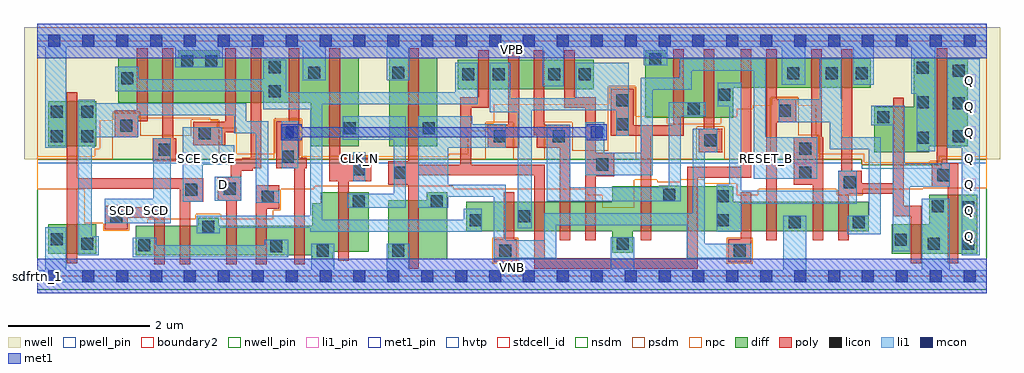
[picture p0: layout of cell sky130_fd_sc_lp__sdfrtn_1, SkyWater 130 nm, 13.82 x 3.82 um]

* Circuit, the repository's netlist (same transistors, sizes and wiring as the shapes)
* Copyright 2020 The SkyWater PDK Authors
*
* Licensed under the Apache License, Version 2.0 (the "License");
* you may not use this file except in compliance with the License.
* You may obtain a copy of the License at
*
*     https://www.apache.org/licenses/LICENSE-2.0
*
* Unless required by applicable law or agreed to in writing, software
* distributed under the License is distributed on an "AS IS" BASIS,
* WITHOUT WARRANTIES OR CONDITIONS OF ANY KIND, either express or implied.
* See the License for the specific language governing permissions and
* limitations under the License.
*
* SPDX-License-Identifier: Apache-2.0

.SUBCKT sky130_fd_sc_lp__sdfrtn_1 CLK_N D RESET_B SCD SCE VGND VNB VPB VPWR Q
*.PININFO CLK_N:I D:I RESET_B:I SCD:I SCE:I VGND:I VNB:I VPB:I VPWR:I
*.PININFO Q:O
MI642 clkpos CLK_N VGND VNB sky130_fd_pr__nfet_01v8 m=1 w=0.84U l=0.15U mult=1
+ sa=0.265 sb=0.265 sd=0.28 area=0.063 perim=1.14
MI636 clkneg clkpos VGND VNB sky130_fd_pr__nfet_01v8 m=1 w=0.84U l=0.15U mult=1
+ sa=0.265 sb=0.265 sd=0.28 area=0.063 perim=1.14
MI42 db clkneg M0 VNB sky130_fd_pr__nfet_01v8 m=1 w=0.42U l=0.15U mult=1 sa=0.265
+ sb=0.265 sd=0.28 area=0.063 perim=1.14
MI656 net062 s0 net048 VNB sky130_fd_pr__nfet_01v8 m=1 w=0.42U l=0.15U mult=1 sa=0.265
+ sb=0.265 sd=0.28 area=0.063 perim=1.14
MI657 net048 RESET_B VGND VNB sky130_fd_pr__nfet_01v8 m=1 w=0.42U l=0.15U mult=1
+ sa=0.265 sb=0.265 sd=0.28 area=0.063 perim=1.14
MI33 net069 RESET_B VGND VNB sky130_fd_pr__nfet_01v8 m=1 w=0.42U l=0.15U mult=1
+ sa=0.265 sb=0.265 sd=0.28 area=0.063 perim=1.14
MI634 sceb SCE VGND VNB sky130_fd_pr__nfet_01v8 m=1 w=0.42U l=0.15U mult=1 sa=0.265
+ sb=0.265 sd=0.28 area=0.063 perim=1.14
MI4 M0 clkpos net077 VNB sky130_fd_pr__nfet_01v8 m=1 w=0.42U l=0.15U mult=1 sa=0.265
+ sb=0.265 sd=0.28 area=0.063 perim=1.14
MI34 net077 M1 net069 VNB sky130_fd_pr__nfet_01v8 m=1 w=0.42U l=0.15U mult=1 sa=0.265
+ sb=0.265 sd=0.28 area=0.063 perim=1.14
MI655 s0 clkneg net061 VNB sky130_fd_pr__nfet_01v8 m=1 w=0.42U l=0.15U mult=1 sa=0.265
+ sb=0.265 sd=0.28 area=0.063 perim=1.14
MI652 net041 s0 VGND VNB sky130_fd_pr__nfet_01v8 m=1 w=0.42U l=0.15U mult=1 sa=0.265
+ sb=0.265 sd=0.28 area=0.063 perim=1.14
MI653 Q net041 VGND VNB sky130_fd_pr__nfet_01v8 m=1 w=0.84U l=0.15U mult=1 sa=0.265
+ sb=0.265 sd=0.28 area=0.063 perim=1.14
MI654 net061 net062 VGND VNB sky130_fd_pr__nfet_01v8 m=1 w=0.42U l=0.15U mult=1
+ sa=0.265 sb=0.265 sd=0.28 area=0.063 perim=1.14
MI647 M1 M0 VGND VNB sky130_fd_pr__nfet_01v8 m=1 w=0.64U l=0.15U mult=1 sa=0.265
+ sb=0.265 sd=0.28 area=0.063 perim=1.14
MI649 M1 clkpos s0 VNB sky130_fd_pr__nfet_01v8 m=1 w=0.64U l=0.15U mult=1 sa=0.265
+ sb=0.265 sd=0.28 area=0.063 perim=1.14
MI666 net84 RESET_B VGND VNB sky130_fd_pr__nfet_01v8 m=1 w=0.42U l=0.15U mult=1
+ sa=0.265 sb=0.265 sd=0.28 area=0.525 perim=3.1
MI98 db D n0 VNB sky130_fd_pr__nfet_01v8 m=1 w=0.42U l=0.15U mult=1 sa=0.265 sb=0.265
+ sd=0.28 area=0.525 perim=3.1
MI103 n1 SCD net84 VNB sky130_fd_pr__nfet_01v8 m=1 w=0.42U l=0.15U mult=1 sa=0.265
+ sb=0.265 sd=0.28 area=0.525 perim=3.1
MI120 db SCE n1 VNB sky130_fd_pr__nfet_01v8 m=1 w=0.42U l=0.15U mult=1 sa=0.265
+ sb=0.265 sd=0.28 area=0.525 perim=3.1
MI104 n0 sceb net84 VNB sky130_fd_pr__nfet_01v8 m=1 w=0.42U l=0.15U mult=1 sa=0.265
+ sb=0.265 sd=0.28 area=0.525 perim=3.1
MI643 clkpos CLK_N VPWR VPB sky130_fd_pr__pfet_01v8_hvt m=1 w=1.26U l=0.15U mult=1
+ sa=0.265 sb=0.265 sd=0.28 area=0.063 perim=1.14
MI635 clkneg clkpos VPWR VPB sky130_fd_pr__pfet_01v8_hvt m=1 w=1.26U l=0.15U mult=1
+ sa=0.265 sb=0.265 sd=0.28 area=0.063 perim=1.14
MI43 db clkpos M0 VPB sky130_fd_pr__pfet_01v8_hvt m=1 w=0.42U l=0.15U mult=1 sa=0.265
+ sb=0.265 sd=0.28 area=0.063 perim=1.14
MI662 net0133 net062 VPWR VPB sky130_fd_pr__pfet_01v8_hvt m=1 w=0.42U l=0.15U mult=1
+ sa=0.265 sb=0.265 sd=0.28 area=0.063 perim=1.14
MI659 net062 RESET_B VPWR VPB sky130_fd_pr__pfet_01v8_hvt m=1 w=0.42U l=0.15U mult=1
+ sa=0.265 sb=0.265 sd=0.28 area=0.063 perim=1.14
MI664 s0 clkpos net0133 VPB sky130_fd_pr__pfet_01v8_hvt m=1 w=0.42U l=0.15U mult=1
+ sa=0.265 sb=0.265 sd=0.28 area=0.063 perim=1.14
MI658 net062 s0 VPWR VPB sky130_fd_pr__pfet_01v8_hvt m=1 w=0.42U l=0.15U mult=1
+ sa=0.265 sb=0.265 sd=0.28 area=0.063 perim=1.14
MI30 net0156 M1 VPWR VPB sky130_fd_pr__pfet_01v8_hvt m=1 w=0.42U l=0.15U mult=1
+ sa=0.265 sb=0.265 sd=0.28 area=0.063 perim=1.14
MI31 M0 clkneg net0156 VPB sky130_fd_pr__pfet_01v8_hvt m=1 w=0.42U l=0.15U mult=1
+ sa=0.265 sb=0.265 sd=0.28 area=0.063 perim=1.14
MI32 M0 RESET_B VPWR VPB sky130_fd_pr__pfet_01v8_hvt m=1 w=0.42U l=0.15U mult=1
+ sa=0.265 sb=0.265 sd=0.28 area=0.063 perim=1.14
MI663 net041 s0 VPWR VPB sky130_fd_pr__pfet_01v8_hvt m=1 w=0.64U l=0.15U mult=1
+ sa=0.265 sb=0.265 sd=0.28 area=0.063 perim=1.14
MI660 Q net041 VPWR VPB sky130_fd_pr__pfet_01v8_hvt m=1 w=1.26U l=0.15U mult=1
+ sa=0.265 sb=0.265 sd=0.28 area=0.063 perim=1.14
MI648 M1 M0 VPWR VPB sky130_fd_pr__pfet_01v8_hvt m=1 w=0.84U l=0.15U mult=1 sa=0.265
+ sb=0.265 sd=0.28 area=0.063 perim=1.14
MI650 M1 clkneg s0 VPB sky130_fd_pr__pfet_01v8_hvt m=1 w=0.84U l=0.15U mult=1 sa=0.265
+ sb=0.265 sd=0.28 area=0.063 perim=1.14
MI633 sceb SCE VPWR VPB sky130_fd_pr__pfet_01v8_hvt m=1 w=0.64U l=0.15U mult=1
+ sa=0.265 sb=0.265 sd=0.28 area=0.063 perim=1.14
MI101 db sceb p1 VPB sky130_fd_pr__pfet_01v8_hvt m=1 w=0.64U l=0.15U mult=1 sa=0.265
+ sb=0.265 sd=0.28 area=0.063 perim=1.14
MI107 p0 SCE VPWR VPB sky130_fd_pr__pfet_01v8_hvt m=1 w=0.64U l=0.15U mult=1 sa=0.265
+ sb=0.265 sd=0.28 area=0.063 perim=1.14
MI94 db D p0 VPB sky130_fd_pr__pfet_01v8_hvt m=1 w=0.64U l=0.15U mult=1 sa=0.265
+ sb=0.265 sd=0.28 area=0.063 perim=1.14
MI108 p1 SCD VPWR VPB sky130_fd_pr__pfet_01v8_hvt m=1 w=0.64U l=0.15U mult=1 sa=0.265
+ sb=0.265 sd=0.28 area=0.063 perim=1.14
MI665 db RESET_B VPWR VPB sky130_fd_pr__pfet_01v8_hvt m=1 w=0.64U l=0.15U mult=1
+ sa=0.265 sb=0.265 sd=0.28 area=0.063 perim=1.14
.ENDS sky130_fd_sc_lp__sdfrtn_1

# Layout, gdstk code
import gdstk
lib = gdstk.Library(unit=1e-6, precision=1e-09)
def R(c, l, rs):  # rectangles x0, y0, x1, y1
    for r in rs: c.add(gdstk.rectangle(r[:2], r[2:], *l))
def A(c, l, x, y, w, h, nx, ny, dx, dy):  # array of equal rectangles
    R(c, l, [(x+i*dx, y+j*dy, x+i*dx+w, y+j*dy+h) for i in range(nx) for j in range(ny)])
def P(c, l, *ps):  # polygons
    for p in ps: c.add(gdstk.Polygon(p, *l))
nwell_pin = (64, 16)
nwell = (64, 20)
diff = (65, 20)
poly = (66, 20)
licon = (66, 44)
li1_pin = (67, 16)
li1 = (67, 20)
mcon = (67, 44)
met1_pin = (68, 16)
met1 = (68, 20)
hvtp = (78, 44)
stdcell_id = (81, 4)
nsdm = (93, 44)
psdm = (94, 20)
npc = (95, 20)
pwell_pin = (122, 16)
boundary2 = (236, 0)

sky130_fd_sc_lp__sdfrtn_ = lib.new_cell('sky130_fd_sc_lp__sdfrtn_1')
R(sky130_fd_sc_lp__sdfrtn_, nwell_pin, [(0,3.085,13.44,3.33)])
P(sky130_fd_sc_lp__sdfrtn_, nwell, [(13.63,3.52),(-0.19,3.52),(-0.19,1.655),(11.67,1.655),(11.67,1.575),(12.805,1.575),(12.805,1.655),(13.63,1.655)])
R(sky130_fd_sc_lp__sdfrtn_, diff, [(0.15,0.315,0.83,0.735), (0.15,1.835,0.83,2.475), (4.985,1.835,5.665,3.095), (5.955,2.645,7.875,3.065)])
P(sky130_fd_sc_lp__sdfrtn_, diff, [(4.55,3.095),(2.585,3.095),(2.585,3.195),(1.995,3.195),(1.995,3.095),(1.145,3.095),(1.145,2.455),(3.87,2.455),(3.87,1.835),(4.55,1.835)],
  [(4.695,1.185),(4.01,1.185),(4.01,1.03),(3.895,1.03),(3.895,0.715),(2.565,0.715),(2.565,0.825),(2.275,0.825),(2.275,0.715),(1.39,0.715),(1.39,0.295),(3.895,0.295),(3.895,0.235),(4.185,0.235),(4.185,0.345),(4.695,0.345)],
  [(5.8,1.185),(5.51,1.185),(5.51,1.075),(4.965,1.075),(4.965,0.235),(5.8,0.235)],
  [(11.775,1.055),(9.85,1.055),(9.85,1.275),(9.09,1.275),(9.09,1.28),(8.8,1.28),(8.8,1.275),(8.14,1.275),(8.14,1.055),(6.07,1.055),(6.07,0.635),(8.14,0.635),(8.14,0.33),(8.43,0.33),(8.43,0.635),(11.775,0.635)],
  [(11.8,3.085),(8.895,3.085),(8.895,3.195),(8.605,3.195),(8.605,2.245),(9.85,2.245),(9.85,2.665),(11.8,2.665)],
  [(13.305,1.155),(12.625,1.155),(12.625,0.735),(12.1,0.735),(12.1,0.315),(13.305,0.315)],
  [(13.17,3.095),(12.41,3.095),(12.41,2.395),(11.85,2.395),(11.85,1.755),(12.625,1.755),(12.625,1.835),(13.17,1.835)])
P(sky130_fd_sc_lp__sdfrtn_, poly, [(1.56,3.225),(1.41,3.225),(1.41,2.345),(1.095,2.345),(1.095,1.965),(1.425,1.965),(1.425,2.195),(1.56,2.195)],
  [(1.805,0.975),(1.28,0.975),(1.28,0.995),(0.95,0.995),(0.95,0.665),(1.28,0.665),(1.28,0.825),(1.655,0.825),(1.655,0.165),(1.805,0.165)],
  [(1.965,1.955),(1.92,1.955),(1.92,3.225),(1.77,3.225),(1.77,1.955),(1.635,1.955),(1.635,1.625),(1.965,1.625)],
  [(2.345,1.385),(0.565,1.385),(0.565,2.605),(0.415,2.605),(0.415,0.185),(0.565,0.185),(0.565,1.235),(2.015,1.235),(2.015,0.165),(2.165,0.165),(2.165,1.055),(2.345,1.055)],
  [(2.81,3.225),(2.66,3.225),(2.66,2.185),(2.205,2.185),(2.205,1.855),(2.66,1.855),(2.66,2.035),(2.81,2.035)],
  [(3.17,3.225),(3.02,3.225),(3.02,1.675),(2.9,1.675),(2.9,1.645),(2.735,1.645),(2.735,1.4),(2.555,1.4),(2.555,1.07),(2.675,1.07),(2.675,0.165),(2.825,0.165),(2.825,1.07),(2.885,1.07),(2.885,1.495),(3.05,1.495),(3.05,1.525),(3.17,1.525)],
  [(3.425,1.285),(3.095,1.285),(3.095,0.165),(3.245,0.165),(3.245,0.955),(3.425,0.955)],
  [(3.815,1.675),(3.71,1.675),(3.71,3.225),(3.56,3.225),(3.56,2.195),(3.38,2.195),(3.38,1.525),(3.635,1.525),(3.635,0.165),(3.785,0.165),(3.785,1.525),(3.815,1.525)],
  [(4.725,1.675),(4.285,1.675),(4.285,3.225),(4.135,3.225),(4.135,1.345),(4.26,1.345),(4.26,0.215),(4.41,0.215),(4.41,1.345),(4.725,1.345)],
  [(6.79,0.525),(6.755,0.525),(6.755,1.185),(6.605,1.185),(6.605,0.525),(6.46,0.525),(6.46,0.195),(6.79,0.195)],
  [(6.82,3.195),(6.67,3.195),(6.67,2.145),(6.38,2.145),(6.38,1.815),(6.82,1.815)],
  [(7.545,2.145),(7.18,2.145),(7.18,3.195),(7.03,3.195),(7.03,1.995),(7.07,1.995),(7.07,1.815),(7.395,1.815),(7.395,0.505),(7.545,0.505)],
  [(8.165,1.745),(7.905,1.745),(7.905,2.535),(7.61,2.535),(7.61,3.195),(7.46,3.195),(7.46,2.385),(7.755,2.385),(7.755,0.505),(7.905,0.505),(7.905,1.415),(8.165,1.415)],
  [(9.155,3.215),(9.005,3.215),(9.005,2.135),(8.445,2.135),(8.445,2.655),(8.115,2.655),(8.115,1.985),(8.54,1.985),(8.54,0.505),(8.69,0.505),(8.69,1.985),(9.155,1.985)],
  [(9.695,2.085),(9.585,2.085),(9.585,3.215),(9.435,3.215),(9.435,2.085),(9.365,2.085),(9.365,1.755),(9.695,1.755)],
  [(10.11,3.215),(9.96,3.215),(9.96,1.545),(9.2,1.545),(9.2,0.255),(7.185,0.255),(7.185,1.575),(6.14,1.575),(6.14,2.385),(6.39,2.385),(6.39,3.195),(6.24,3.195),(6.24,2.535),(5.99,2.535),(5.99,1.575),(5.4,1.575),(5.4,3.225),(5.25,3.225),(5.25,1.625),(4.965,1.625),(4.965,1.295),(5.25,1.295),(5.25,0.105),(5.4,0.105),(5.4,1.425),(7.035,1.425),(7.035,0.105),(9.35,0.105),(9.35,1.395),(10.11,1.395)],
  [(10.11,1.185),(9.96,1.185),(9.96,0.525),(9.78,0.525),(9.78,0.195),(10.11,0.195)],
  [(10.745,2.505),(10.47,2.505),(10.47,3.215),(10.32,3.215),(10.32,0.505),(10.47,0.505),(10.47,2.175),(10.745,2.175)],
  [(11.13,1.965),(11.105,1.965),(11.105,3.215),(10.955,3.215),(10.955,1.965),(10.71,1.965),(10.71,1.295),(10.98,1.295),(10.98,0.505),(11.13,0.505)],
  [(12.515,0.995),(12.265,0.995),(12.265,2.525),(12.115,2.525),(12.115,1.315),(11.67,1.315),(11.67,1.495),(11.535,1.495),(11.535,3.215),(11.385,3.215),(11.385,1.495),(11.34,1.495),(11.34,0.505),(11.49,0.505),(11.49,1.165),(12.115,1.165),(12.115,0.845),(12.365,0.845),(12.365,0.185),(12.515,0.185)],
  [(13.04,1.595),(12.885,1.595),(12.885,3.225),(12.735,3.225),(12.735,1.595),(12.665,1.595),(12.665,1.265),(12.89,1.265),(12.89,0.185),(13.04,0.185)])
R(sky130_fd_sc_lp__sdfrtn_, licon, [(3.955,0.275,4.125,0.445), (5.025,0.275,5.195,0.445), (6.54,0.275,6.71,0.445), (9.86,0.275,10.03,0.445), (3.3,0.335,3.47,0.505), (1.43,0.355,1.6,0.525), (8.2,0.37,8.37,0.54), (0.62,0.375,0.79,0.545), (12.605,0.375,12.775,0.545), (13.095,0.375,13.265,0.545), (12.14,0.43,12.31,0.6), (0.19,0.44,0.36,0.61), (2.335,0.615,2.505,0.785), (10.64,0.675,10.81,0.845), (11.545,0.675,11.715,0.845), (6.12,0.705,6.29,0.875), (9.62,0.705,9.79,0.875), (1.03,0.745,1.2,0.915), (6.81,0.76,6.98,0.93), (13.095,0.89,13.265,1.06), (12.665,0.905,12.835,1.075), (4.465,0.975,4.635,1.145), (5.57,0.975,5.74,1.145), (3.175,1.035,3.345,1.205), (9.62,1.045,9.79,1.215), (8.86,1.07,9.03,1.24), (2.095,1.135,2.265,1.305), (2.635,1.15,2.805,1.32), (11.42,1.245,11.59,1.415), (12.745,1.345,12.915,1.515), (5.045,1.375,5.215,1.545), (10.79,1.375,10.96,1.545), (4.475,1.425,4.645,1.595), (7.915,1.495,8.085,1.665), (3.46,1.605,3.63,1.775), (1.715,1.705,1.885,1.875), (10.79,1.715,10.96,1.885), (9.445,1.835,9.615,2.005), (12.45,1.875,12.62,2.045), (0.19,1.895,0.36,2.065), (0.62,1.895,0.79,2.065), (6.46,1.895,6.63,2.065), (7.295,1.895,7.465,2.065), (12.96,1.895,13.13,2.065), (2.285,1.935,2.455,2.105), (3.46,1.945,3.63,2.115), (4.34,2.01,4.51,2.18), (5.455,2.01,5.625,2.18), (1.175,2.045,1.345,2.215), (8.195,2.065,8.365,2.235), (11.89,2.165,12.06,2.335), (0.19,2.245,0.36,2.415), (0.62,2.245,0.79,2.415), (10.495,2.255,10.665,2.425), (9.21,2.285,9.38,2.455), (12.96,2.365,13.13,2.535), (12.45,2.375,12.62,2.545), (8.195,2.405,8.365,2.575), (9.64,2.485,9.81,2.655), (3.275,2.535,3.445,2.705), (1.185,2.715,1.355,2.885), (6.015,2.77,6.185,2.94), (6.445,2.77,6.615,2.94), (7.235,2.77,7.405,2.94), (7.665,2.77,7.835,2.94), (10.62,2.79,10.79,2.96), (11.16,2.79,11.33,2.96), (11.59,2.79,11.76,2.96), (3.835,2.795,4.005,2.965), (5.025,2.795,5.195,2.965), (12.96,2.825,13.13,2.995), (12.45,2.865,12.62,3.035), (3.275,2.875,3.445,3.045), (2.035,2.955,2.205,3.125), (2.375,2.955,2.545,3.125), (8.665,2.985,8.835,3.155)])
A(sky130_fd_sc_lp__sdfrtn_, li1_pin, 13.115, 0.47, 0.17, 0.17, 1, 7, 0, 0.37)
R(sky130_fd_sc_lp__sdfrtn_, li1_pin, [(1.115,0.84,1.285,1.01), (1.595,0.84,1.765,1.01), (2.555,1.21,2.725,1.38), (2.075,1.58,2.245,1.75), (2.555,1.58,2.725,1.75), (4.475,1.58,4.645,1.75), (10.235,1.58,10.405,1.75), (10.715,1.58,10.885,1.75)])
R(sky130_fd_sc_lp__sdfrtn_, li1, [(2.51,1.07,2.885,1.405), (4.475,1.345,4.645,1.75), (3.46,1.525,3.695,2.195)])
P(sky130_fd_sc_lp__sdfrtn_, li1, [(11.94,1.965),(11.39,1.965),(11.39,2.505),(11.38,2.505),(11.38,3.075),(11.08,3.075),(11.08,2.505),(10.495,2.505),(10.495,2.175),(11.22,2.175),(11.22,1.795),(11.77,1.795),(11.77,0.855),(11.465,0.855),(11.465,0.595),(11.94,0.595)],
  [(13.44,0.085),(12.915,0.085),(12.915,1.095),(12.525,1.095),(12.525,0.085),(10.89,0.085),(10.89,0.855),(10.56,0.855),(10.56,0.085),(8.45,0.085),(8.45,0.55),(8.12,0.55),(8.12,0.085),(5.275,0.085),(5.275,0.455),(4.945,0.455),(4.945,0.085),(4.205,0.085),(4.205,0.455),(3.875,0.455),(3.875,0.085),(0.405,0.085),(0.405,0.69),(0.11,0.69),(0.11,0.085),(0,0.085),(0,-0.085),(13.44,-0.085)],
  [(1.885,1.955),(1.64,1.955),(1.64,1.095),(0.95,1.095),(0.95,0.745),(1.885,0.745)],
  [(13.345,3.075),(12.88,3.075),(12.88,1.815),(13.085,1.815),(13.085,0.295),(13.345,0.295)],
  [(2.785,1.85),(2.62,1.85),(2.62,2.105),(2.055,2.105),(2.055,1.055),(2.34,1.055),(2.34,1.575),(2.785,1.575)],
  [(3.425,1.205),(3.265,1.205),(3.265,2.195),(2.96,2.195),(2.96,2.445),(0.81,2.445),(0.81,2.495),(0.575,2.495),(0.575,0.295),(0.87,0.295),(0.87,0.565),(0.77,0.565),(0.77,1.815),(0.81,1.815),(0.81,1.965),(1.425,1.965),(1.425,2.275),(2.79,2.275),(2.79,2.02),(3.095,2.02),(3.095,1.035),(3.425,1.035)],
  [(3.55,0.515),(3.22,0.515),(3.22,0.435),(1.68,0.435),(1.68,0.545),(1.35,0.545),(1.35,0.265),(3.55,0.265)],
  [(13.44,3.415),(0,3.415),(0,3.245),(0.11,3.245),(0.11,1.815),(0.405,1.815),(0.405,3.245),(1.955,3.245),(1.955,2.955),(2.625,2.955),(2.625,3.245),(3.755,3.245),(3.755,2.77),(4.085,2.77),(4.085,3.245),(4.945,3.245),(4.945,2.77),(5.275,2.77),(5.275,3.245),(7.155,3.245),(7.155,2.69),(7.455,2.69),(7.455,3.245),(8.585,3.245),(8.585,2.985),(8.915,2.985),(8.915,3.245),(10.54,3.245),(10.54,2.71),(10.87,2.71),(10.87,3.245),(11.55,3.245),(11.55,2.71),(11.84,2.71),(11.84,3.245),(12.37,3.245),(12.37,2.585),(12.45,2.585),(12.45,1.765),(12.71,1.765),(12.71,3.245),(13.44,3.245)],
  [(5.215,2.26),(4.32,2.26),(4.32,1.93),(5.045,1.93),(5.045,1.165),(4.385,1.165),(4.385,0.965),(5.215,0.965)],
  [(6.29,0.955),(6.04,0.955),(6.04,0.795),(4.035,0.795),(4.035,2.43),(6.235,2.43),(6.235,3.02),(5.915,3.02),(5.915,2.6),(3.525,2.6),(3.525,3.065),(3.195,3.065),(3.195,2.785),(1.435,2.785),(1.435,2.965),(1.105,2.965),(1.105,2.615),(3.195,2.615),(3.195,2.365),(3.865,2.365),(3.865,0.855),(2.255,0.855),(2.255,0.605),(2.585,0.605),(2.585,0.685),(3.865,0.685),(3.865,0.625),(6.29,0.625)],
  [(8.375,3.02),(7.625,3.02),(7.625,2.52),(6.695,2.52),(6.695,3.02),(6.405,3.02),(6.405,2.32),(6.8,2.32),(6.8,0.68),(7,0.68),(7,2.35),(8.195,2.35),(8.195,1.985),(8.375,1.985)],
  [(9.46,2.465),(8.94,2.465),(8.94,1.26),(7.545,1.26),(7.545,2.145),(7.215,2.145),(7.215,1.06),(9.11,1.06),(9.11,2.265),(9.46,2.265)],
  [(10.11,0.455),(9.45,0.455),(9.45,1.755),(9.625,1.755),(9.625,2.085),(9.28,2.085),(9.28,0.89),(7.18,0.89),(7.18,0.51),(6.63,0.51),(6.63,1.295),(5.82,1.295),(5.82,1.815),(6.63,1.815),(6.63,2.15),(6.16,2.15),(6.16,2.26),(5.395,2.26),(5.395,0.965),(5.82,0.965),(5.82,1.125),(6.46,1.125),(6.46,0.255),(7.35,0.255),(7.35,0.72),(9.195,0.72),(9.195,0.255),(10.11,0.255)],
  [(11.04,1.965),(10.315,1.965),(10.315,3.075),(9.095,3.075),(9.095,2.805),(8.545,2.805),(8.545,1.745),(8.025,1.745),(8.025,2.18),(7.755,2.18),(7.755,1.43),(8.715,1.43),(8.715,2.635),(9.265,2.635),(9.265,2.905),(10.145,2.905),(10.145,1.375),(11.04,1.375)],
  [(12.915,1.595),(12.28,1.595),(12.28,2.415),(11.81,2.415),(11.81,2.135),(12.11,2.135),(12.11,0.35),(12.355,0.35),(12.355,1.265),(12.915,1.265)],
  [(11.6,1.495),(11.34,1.495),(11.34,1.205),(9.965,1.205),(9.965,2.735),(9.63,2.735),(9.63,2.405),(9.795,2.405),(9.795,1.295),(9.62,1.295),(9.62,0.625),(9.965,0.625),(9.965,1.025),(11.6,1.025)])
A(sky130_fd_sc_lp__sdfrtn_, mcon, 0.155, -0.085, 0.17, 0.17, 28, 2, 0.48, 3.33)
R(sky130_fd_sc_lp__sdfrtn_, mcon, [(3.515,1.95,3.685,2.12), (7.835,1.95,8.005,2.12)])
R(sky130_fd_sc_lp__sdfrtn_, met1_pin, [(0,0,13.44,0.245), (0,3.085,13.44,3.33)])
R(sky130_fd_sc_lp__sdfrtn_, met1, [(0,-0.245,13.44,0.245), (0,3.085,13.44,3.575)])
P(sky130_fd_sc_lp__sdfrtn_, met1, [(8.065,2.15),(7.775,2.15),(7.775,2.105),(3.745,2.105),(3.745,2.15),(3.455,2.15),(3.455,1.92),(3.745,1.92),(3.745,1.965),(7.775,1.965),(7.775,1.92),(8.065,1.92)])
P(sky130_fd_sc_lp__sdfrtn_, hvtp, [(13.44,3.33),(0,3.33),(0,1.6),(11.67,1.6),(11.67,1.52),(12.805,1.52),(12.805,1.6),(13.44,1.6)])
R(sky130_fd_sc_lp__sdfrtn_, stdcell_id, [(0,0,13.44,3.33)])
P(sky130_fd_sc_lp__sdfrtn_, nsdm, [(13.44,1.655),(12.805,1.655),(12.805,1.575),(11.67,1.575),(11.67,1.655),(0,1.655),(0,-0.19),(13.44,-0.19)])
P(sky130_fd_sc_lp__sdfrtn_, psdm, [(13.44,3.52),(0,3.52),(0,1.655),(1.065,1.655),(1.065,2.325),(1.455,2.325),(1.455,1.985),(2.175,1.985),(2.175,2.215),(2.565,2.215),(2.565,1.655),(3.35,1.655),(3.35,2.225),(3.74,2.225),(3.74,1.655),(4.365,1.655),(4.365,1.705),(4.755,1.705),(4.755,1.655),(6.35,1.655),(6.35,2.175),(6.74,2.175),(6.74,1.655),(7.185,1.655),(7.185,2.175),(7.575,2.175),(7.575,1.775),(8.085,1.775),(8.085,2.685),(8.475,2.685),(8.475,1.655),(9.335,1.655),(9.335,2.115),(9.725,2.115),(9.725,1.655),(10.385,1.655),(10.385,2.535),(10.775,2.535),(10.775,1.995),(11.07,1.995),(11.07,1.655),(11.67,1.655),(11.67,1.575),(12.635,1.575),(12.635,1.625),(12.805,1.625),(12.805,1.655),(13.44,1.655)])
R(sky130_fd_sc_lp__sdfrtn_, npc, [(6.44,0.175,6.81,0.545), (9.76,0.175,10.13,0.545)])
P(sky130_fd_sc_lp__sdfrtn_, npc, [(13.44,1.695),(12.765,1.695),(12.765,1.615),(11.71,1.615),(11.71,1.73),(11.06,1.73),(11.06,1.985),(11.03,1.985),(11.03,2.42),(10.765,2.42),(10.765,2.525),(10.395,2.525),(10.395,2.42),(10.13,2.42),(10.13,2.37),(9.9,2.37),(9.9,2.255),(9.675,2.255),(9.675,2.155),(8.915,2.155),(8.915,2.265),(8.465,2.265),(8.465,2.675),(8.095,2.675),(8.095,2.43),(6.465,2.43),(6.465,2.165),(6.36,2.165),(6.36,2.06),(6.095,2.06),(6.095,1.73),(5.825,1.73),(5.825,1.695),(3.73,1.695),(3.73,2.215),(3.36,2.215),(3.36,1.73),(2.82,1.73),(2.82,2.1),(2.555,2.1),(2.555,2.205),(2.45,2.205),(2.45,2.24),(1.445,2.24),(1.445,2.315),(1.075,2.315),(1.075,2.21),(0.88,2.21),(0.88,1.805),(0.81,1.805),(0.81,1.695),(0,1.695),(0,1.23),(0.665,1.23),(0.665,0.75),(0.93,0.75),(0.93,0.645),(1.3,0.645),(1.3,0.75),(1.565,0.75),(1.565,0.805),(2.245,0.805),(2.245,0.875),(2.595,0.875),(2.595,0.805),(3.34,0.805),(3.34,0.935),(3.445,0.935),(3.445,1.23),(3.92,1.23),(3.92,1.275),(5.89,1.275),(5.89,1.23),(7.785,1.23),(7.785,1.145),(7.995,1.145),(7.995,0.965),(8.45,0.965),(8.45,1.365),(8.78,1.365),(8.78,1.33),(9.11,1.33),(9.11,1.365),(9.44,1.365),(9.44,1.305),(9.9,1.305),(9.9,1.145),(10.205,1.145),(10.205,1.23),(11.32,1.23),(11.32,1.145),(11.69,1.145),(11.69,1.23),(12.535,1.23),(12.535,1.245),(13.44,1.245)])
R(sky130_fd_sc_lp__sdfrtn_, pwell_pin, [(0,0,13.44,0.245)])
R(sky130_fd_sc_lp__sdfrtn_, boundary2, [(0,0,13.44,3.33)])
sky130_fd_sc_lp__sdfrtn_.add(gdstk.Label('VNB', (6.72,0.123), layer=64, texttype=59))
sky130_fd_sc_lp__sdfrtn_.add(gdstk.Label('VPB', (6.72,3.208), layer=64, texttype=5))
sky130_fd_sc_lp__sdfrtn_.add(gdstk.Label('sdfrtn_1', (0,0), layer=83, texttype=44))
sky130_fd_sc_lp__sdfrtn_.add(gdstk.Label('VPWR', (6.72,3.208), layer=68, texttype=5))
sky130_fd_sc_lp__sdfrtn_.add(gdstk.Label('VGND', (6.72,0.123), layer=68, texttype=5))
sky130_fd_sc_lp__sdfrtn_.add(gdstk.Label('Q', (13.2,0.555), layer=67, texttype=5))
sky130_fd_sc_lp__sdfrtn_.add(gdstk.Label('Q', (13.2,0.925), layer=67, texttype=5))
sky130_fd_sc_lp__sdfrtn_.add(gdstk.Label('Q', (13.2,1.295), layer=67, texttype=5))
sky130_fd_sc_lp__sdfrtn_.add(gdstk.Label('Q', (13.2,1.665), layer=67, texttype=5))
sky130_fd_sc_lp__sdfrtn_.add(gdstk.Label('Q', (13.2,2.035), layer=67, texttype=5))
sky130_fd_sc_lp__sdfrtn_.add(gdstk.Label('Q', (13.2,2.405), layer=67, texttype=5))
sky130_fd_sc_lp__sdfrtn_.add(gdstk.Label('SCE', (2.16,1.665), layer=67, texttype=5))
sky130_fd_sc_lp__sdfrtn_.add(gdstk.Label('SCE', (2.64,1.665), layer=67, texttype=5))
sky130_fd_sc_lp__sdfrtn_.add(gdstk.Label('RESET_B', (10.32,1.665), layer=67, texttype=5))
sky130_fd_sc_lp__sdfrtn_.add(gdstk.Label('RESET_B', (10.8,1.665), layer=67, texttype=5))
sky130_fd_sc_lp__sdfrtn_.add(gdstk.Label('D', (2.64,1.295), layer=67, texttype=5))
sky130_fd_sc_lp__sdfrtn_.add(gdstk.Label('CLK_N', (4.56,1.665), layer=67, texttype=5))
sky130_fd_sc_lp__sdfrtn_.add(gdstk.Label('SCD', (1.2,0.925), layer=67, texttype=5))
sky130_fd_sc_lp__sdfrtn_.add(gdstk.Label('SCD', (1.68,0.925), layer=67, texttype=5))
sky130_fd_sc_lp__sdfrtn_.add(gdstk.Label('Q', (13.2,2.775), layer=67, texttype=5))

lib.write_gds('sky130_fd_sc_lp__sdfrtn_1.gds')
